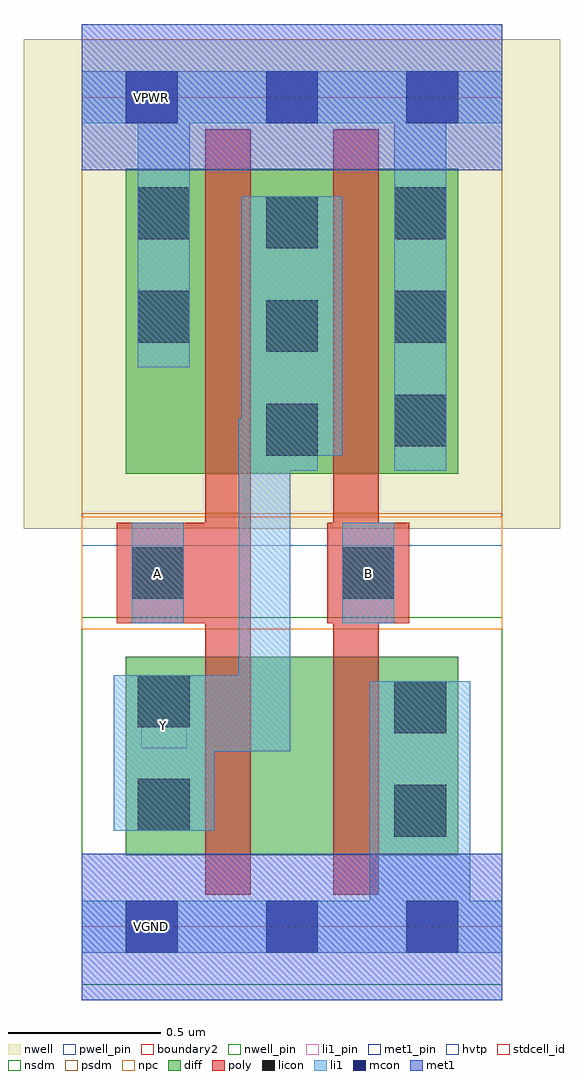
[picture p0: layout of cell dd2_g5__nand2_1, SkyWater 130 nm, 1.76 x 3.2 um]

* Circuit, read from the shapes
.subckt dd2_g5__nand2_1 A B VGND VNB VPB VPWR Y
XM1 n1 A Y VNB sky130_fd_pr__nfet_01v8 w=0.65 l=0.15
XM2 VGND B n1 VNB sky130_fd_pr__nfet_01v8 w=0.65 l=0.15
XM3 Y A VPWR VPB sky130_fd_pr__pfet_01v8_hvt w=1 l=0.15
XM4 VPWR B Y VPB sky130_fd_pr__pfet_01v8_hvt w=1 l=0.15
.ends

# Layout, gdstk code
import gdstk
lib = gdstk.Library(unit=1e-6, precision=1e-09)
def R(c, l, rs):  # rectangles x0, y0, x1, y1
    for r in rs: c.add(gdstk.rectangle(r[:2], r[2:], *l))
def A(c, l, x, y, w, h, nx, ny, dx, dy):  # array of equal rectangles
    R(c, l, [(x+i*dx, y+j*dy, x+i*dx+w, y+j*dy+h) for i in range(nx) for j in range(ny)])
nwell_pin = (64, 16)
nwell = (64, 20)
diff = (65, 20)
poly = (66, 20)
licon = (66, 44)
li1_pin = (67, 16)
li1 = (67, 20)
mcon = (67, 44)
met1_pin = (68, 16)
met1 = (68, 20)
hvtp = (78, 44)
stdcell_id = (81, 4)
nsdm = (93, 44)
psdm = (94, 20)
npc = (95, 20)
pwell_pin = (122, 16)
boundary2 = (236, 0)

dd2_g5__nand2_1 = lib.new_cell('dd2_g5__nand2_1')
R(dd2_g5__nand2_1, nwell_pin, [(0.145,2.635,0.315,2.805)])
R(dd2_g5__nand2_1, nwell, [(-0.19,1.305,1.57,2.91)])
R(dd2_g5__nand2_1, diff, [(0.145,0.235,0.9,0.885), (0.48,0.235,1.235,0.885), (0.145,1.485,0.9,2.485), (0.48,1.485,1.235,2.485)])
R(dd2_g5__nand2_1, poly, [(0.405,0.105,0.555,2.615), (0.825,0.105,0.975,2.615), (0.115,0.995,0.555,1.325), (0.805,0.995,1.075,1.325)])
A(dd2_g5__nand2_1, licon, 0.605, 1.545, 0.17, 0.17, 1, 3, 0, 0.34)
A(dd2_g5__nand2_1, licon, 1.025, 1.575, 0.17, 0.17, 1, 3, 0, 0.34)
R(dd2_g5__nand2_1, licon, [(1.025,0.295,1.195,0.465), (0.185,0.315,0.355,0.485), (1.025,0.635,1.195,0.805), (0.185,0.655,0.355,0.825), (0.165,1.075,0.335,1.245), (0.855,1.075,1.025,1.245), (0.185,1.915,0.355,2.085), (0.185,2.255,0.355,2.425)])
R(dd2_g5__nand2_1, li1_pin, [(0.145,-0.085,0.315,0.085), (0.195,0.585,0.345,0.735), (0.175,1.085,0.325,1.235), (0.865,1.085,1.015,1.235), (0.145,2.635,0.315,2.805)])
R(dd2_g5__nand2_1, li1, [(0,-0.085,1.38,0.085), (0.945,0.085,1.275,0.805), (0.105,0.315,0.435,0.575), (0.105,0.575,0.685,0.825), (0.515,0.825,0.685,1.495), (0.165,0.995,0.335,1.325), (0.855,0.995,1.025,1.325), (0.515,1.495,0.775,1.545), (1.025,1.495,1.195,2.635), (0.515,1.545,0.855,1.665), (0.525,1.665,0.855,2.395), (0.185,1.835,0.355,2.635), (0,2.635,1.38,2.805)])
A(dd2_g5__nand2_1, mcon, 0.145, -0.085, 0.17, 0.17, 3, 2, 0.46, 2.72)
R(dd2_g5__nand2_1, met1_pin, [(0.145,-0.085,0.315,0.085), (0.145,2.635,0.315,2.805)])
R(dd2_g5__nand2_1, met1, [(0,-0.24,1.38,0.24), (0,2.48,1.38,2.96)])
R(dd2_g5__nand2_1, hvtp, [(0,1.25,1.38,2.72)])
R(dd2_g5__nand2_1, stdcell_id, [(0,0,1.38,2.72)])
R(dd2_g5__nand2_1, nsdm, [(0,-0.19,1.38,1.015)])
R(dd2_g5__nand2_1, psdm, [(0,1.355,1.38,2.91)])
R(dd2_g5__nand2_1, npc, [(0,0.975,1.38,1.345)])
R(dd2_g5__nand2_1, pwell_pin, [(0.145,-0.085,0.315,0.085)])
R(dd2_g5__nand2_1, boundary2, [(0,0,1.38,2.72)])
dd2_g5__nand2_1.add(gdstk.Label('VPWR', (0.23,2.72), layer=68, texttype=5))
dd2_g5__nand2_1.add(gdstk.Label('VGND', (0.23,0), layer=68, texttype=5))
dd2_g5__nand2_1.add(gdstk.Label('VPWR', (0.23,2.72), layer=67, texttype=5))
dd2_g5__nand2_1.add(gdstk.Label('VGND', (0.23,0), layer=67, texttype=5))
dd2_g5__nand2_1.add(gdstk.Label('A', (0.25,1.16), layer=67, texttype=5))
dd2_g5__nand2_1.add(gdstk.Label('B', (0.94,1.16), layer=67, texttype=5))
dd2_g5__nand2_1.add(gdstk.Label('Y', (0.27,0.66), layer=67, texttype=5))
dd2_g5__nand2_1.add(gdstk.Label('VPB', (0.23,2.72), layer=64, texttype=5))
dd2_g5__nand2_1.add(gdstk.Label('VNB', (0.23,0), layer=64, texttype=59))

lib.write_gds('dd2_g5__nand2_1.gds')
